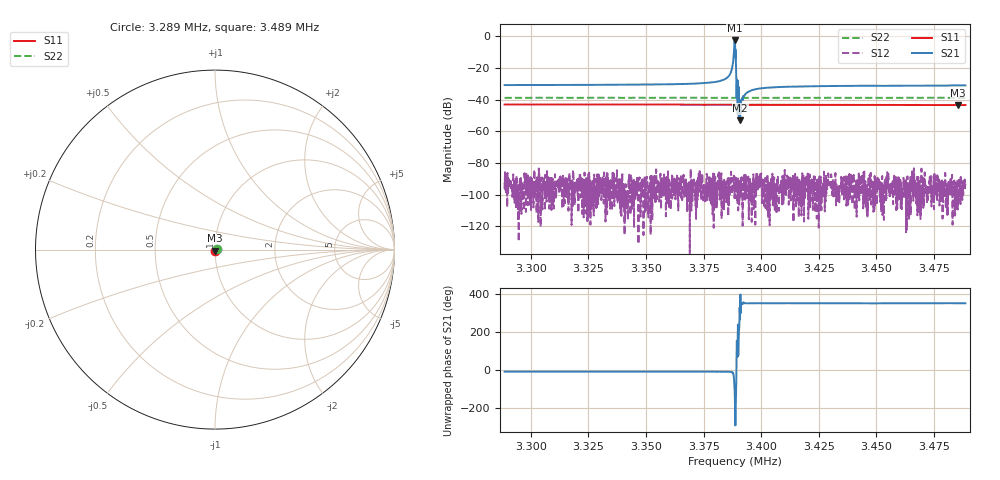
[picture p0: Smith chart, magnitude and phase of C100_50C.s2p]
# Hz S dB R 50.000
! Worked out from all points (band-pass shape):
!   6401 points, 3.289 MHz to 3.489 MHz, reference 50 ohm
!   highest |S21| = -2.55 dB at 3.389 MHz (marker M1); lowest = -53.1 dB at 3.391 MHz (marker M2)
!   |S21| within 3 dB of the highest: 3.388341 MHz to 3.388631 MHz (289.7 Hz wide, 0.00855 % of centre)
!   lowest |S11| = -43.4 dB at 3.485 MHz (marker M3), VSWR 1.01, Z = 49.9 - j0.672 ohm
!   |S11| at or under -10 dB: start of sweep to end of sweep
!   |S22| runs from -38.9 to -38.7 dB; largest |S21 - S12| = 0.75
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3288594  -43.06 -94.0  -30.74 -6.7  -92.52 -144.1  -38.81 6.1
3321938  -43.05 -93.8  -30.63 -6.8  -96.64 68.9  -38.79 6.1
3355282  -43.10 -93.9  -30.33 -7.0  -98.09 56.2  -38.78 6.1
3382032  -43.15 -94.0  -28.15 -7.6  -89.74 119.0  -38.84 6.1
3385782  -43.17 -94.1  -25.27 -7.7  -95.23 92.9  -38.83 6.1
3386875  -43.16 -94.3  -22.38 -8.3  -85.51 36.6  -38.81 6.1
3387375  -43.18 -94.2  -19.60 -9.6  -99.30 33.4  -38.84 6.1
3387969  -43.16 -94.0  -13.36 -24.5  -95.63 -70.7  -38.83 6.0
3388156  -43.17 -94.1  -9.05 -42.2  -91.75 -128.9  -38.87 5.9
3388594  -43.17 -94.1  -2.55 -173.3  -92.74 103.8  -38.81 7.0
3389282  -43.18 -94.2  -39.08 79.4  -92.69 -12.8  -38.83 6.3
3389594  -43.19 -94.1  -30.49 130.4  -97.05 37.4  -38.81 6.3
3390125  -43.17 -94.0  -33.82 154.7  -98.43 139.9  -38.83 6.3
3390844  -43.19 -94.1  -53.14 -23.5  -100.65 -133.6  -38.83 6.2
3391406  -43.21 -94.2  -40.01 -5.9  -92.21 2.9  -38.80 6.3
3392188  -43.19 -94.1  -37.56 -7.8  -97.19 73.2  -38.83 6.0
3393594  -43.18 -94.4  -35.76 -7.6  -89.09 -13.3  -38.81 6.2
3397094  -43.19 -94.2  -33.56 -7.1  -91.78 31.3  -38.82 6.2
3421938  -43.27 -94.2  -31.49 -7.0  -92.42 -42.4  -38.83 6.4
3455282  -43.31 -94.0  -31.21 -7.2  -93.44 58.4  -38.78 6.3
3485469  -43.42 -94.2  -31.01 -7.1  -99.49 -172.7  -38.81 6.1
3488594  -43.37 -93.9  -30.98 -7.2  -91.89 89.2  -38.79 6.3
